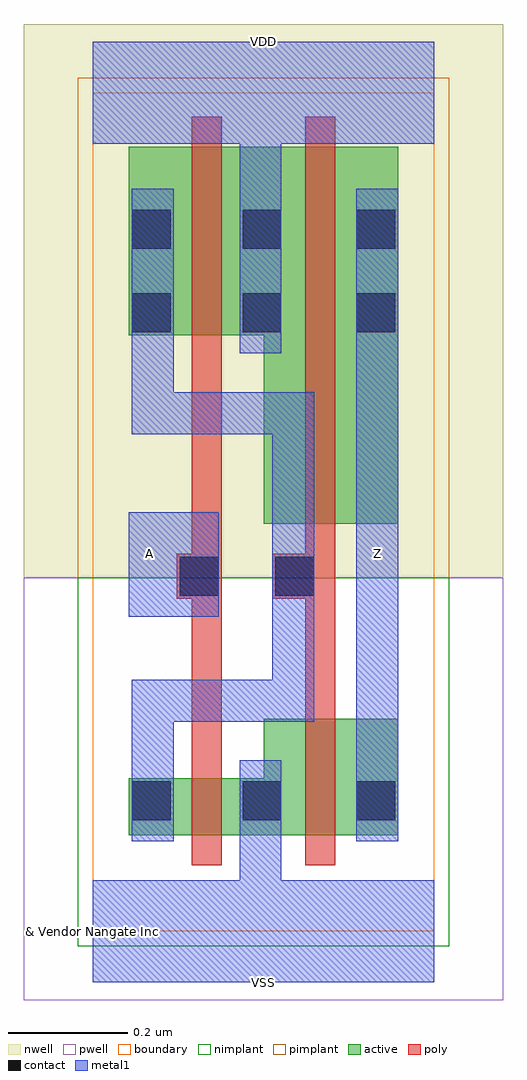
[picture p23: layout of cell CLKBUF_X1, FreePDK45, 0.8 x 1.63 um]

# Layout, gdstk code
import gdstk
lib = gdstk.Library(unit=1e-6, precision=1e-10)
def R(c, l, rs):  # rectangles x0, y0, x1, y1
    for r in rs: c.add(gdstk.rectangle(r[:2], r[2:], *l))
def P(c, l, *ps):  # polygons
    for p in ps: c.add(gdstk.Polygon(p, *l))
active = (1, 0)
pwell = (2, 0)
nwell = (3, 0)
nimplant = (4, 0)
pimplant = (5, 0)
poly = (9, 0)
contact = (10, 0)
metal1 = (11, 0)
boundary = (235, 0)

clkbuf_x1 = lib.new_cell('CLKBUF_X1')
P(clkbuf_x1, active, [(0.06,0.16),(0.06,0.255),(0.285,0.255),(0.285,0.355),(0.51,0.355),(0.51,0.16)],
  [(0.285,0.68),(0.285,0.995),(0.06,0.995),(0.06,1.31),(0.51,1.31),(0.51,0.68)])
R(clkbuf_x1, pwell, [(-0.115,-0.115,0.685,0.59)])
R(clkbuf_x1, nwell, [(-0.115,0.59,0.685,1.515)])
R(clkbuf_x1, nimplant, [(-0.025,-0.025,0.595,0.59)])
R(clkbuf_x1, pimplant, [(-0.025,0.59,0.595,1.425)])
P(clkbuf_x1, poly, [(0.165,0.11),(0.165,0.555),(0.14,0.555),(0.14,0.63),(0.165,0.63),(0.165,1.36),(0.215,1.36),(0.215,0.11)],
  [(0.355,0.11),(0.355,0.555),(0.3,0.555),(0.3,0.63),(0.355,0.63),(0.355,1.36),(0.405,1.36),(0.405,0.11)])
R(clkbuf_x1, contact, [(0.065,0.185,0.13,0.25), (0.25,0.185,0.315,0.25), (0.44,0.185,0.505,0.25), (0.145,0.56,0.21,0.625), (0.305,0.56,0.37,0.625), (0.065,1,0.13,1.065), (0.25,1,0.315,1.065), (0.44,1,0.505,1.065), (0.065,1.14,0.13,1.205), (0.25,1.14,0.315,1.205), (0.44,1.14,0.505,1.205)])
R(clkbuf_x1, metal1, [(0.44,0.15,0.51,1.24), (0.06,0.525,0.21,0.7)])
P(clkbuf_x1, metal1, [(0.065,0.15),(0.065,0.42),(0.3,0.42),(0.3,0.83),(0.065,0.83),(0.065,1.24),(0.135,1.24),(0.135,0.9),(0.37,0.9),(0.37,0.35),(0.135,0.35),(0.135,0.15)],
  [(0,-0.085),(0,0.085),(0.245,0.085),(0.245,0.285),(0.315,0.285),(0.315,0.085),(0.57,0.085),(0.57,-0.085)],
  [(0.245,0.965),(0.245,1.315),(0,1.315),(0,1.485),(0.57,1.485),(0.57,1.315),(0.315,1.315),(0.315,0.965)])
R(clkbuf_x1, boundary, [(0,0,0.57,1.4)])
clkbuf_x1.add(gdstk.Label('A', (0.095,0.63), layer=11, texttype=0))
clkbuf_x1.add(gdstk.Label('VDD', (0.285,1.485), layer=11, texttype=0))
clkbuf_x1.add(gdstk.Label('VSS', (0.285,-0.085), layer=11, texttype=0))
clkbuf_x1.add(gdstk.Label('Z', (0.475,0.63), layer=11, texttype=0))
clkbuf_x1.add(gdstk.Label('& Vendor Nangate Inc', (0,0), layer=63, texttype=63))
clkbuf_x1.add(gdstk.Label('& Product Open Cell Library', (0,0), layer=63, texttype=63))
clkbuf_x1.add(gdstk.Label('& Version 2010_12', (0,0), layer=63, texttype=63))
clkbuf_x1.add(gdstk.Label('& Instance CLKBUF_X1', (0,0), layer=63, texttype=63))

lib.write_gds('CLKBUF_X1.gds')
